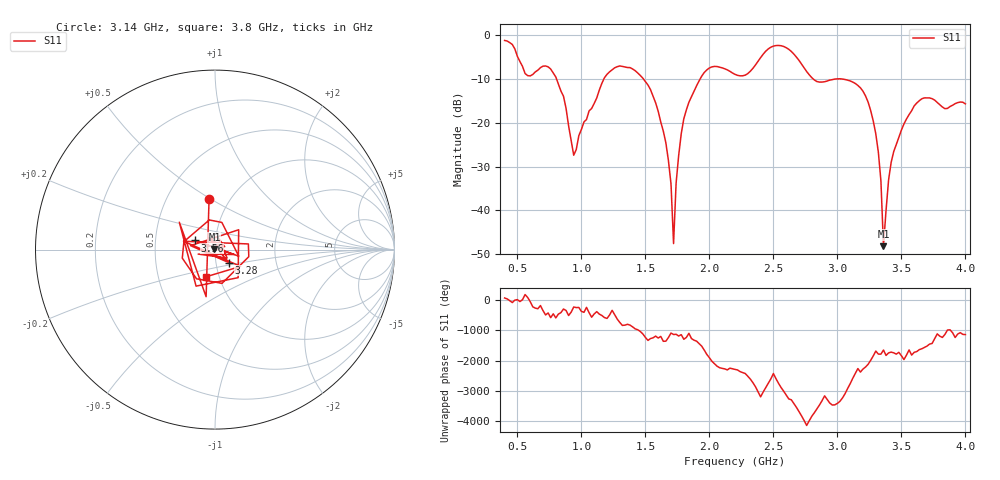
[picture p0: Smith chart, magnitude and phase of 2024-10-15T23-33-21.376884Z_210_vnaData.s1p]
! Created with skrf (http://scikit-rf.org).
# Hz S RI R 50.0
!freq ReS11 ImS11
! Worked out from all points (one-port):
!   181 points, 400 MHz to 4 GHz, reference 50 ohm
!   lowest |S11| = -48.2 dB at 3.36 GHz (marker M1), VSWR 1.01, Z = 49.7 + j0.181 ohm
!   |S11| at or under -10 dB: 805.6 MHz to 1.175 GHz (369.9 MHz wide, 37.3 % of centre); 1.485 GHz to 1.927 GHz (442.6 MHz wide, 25.9 % of centre); 3.037 GHz to end of sweep (the widest 3 of 4)
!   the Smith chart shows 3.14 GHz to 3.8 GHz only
!   S11 on the Smith chart (normalised r, x): 3.14 GHz: 0.80, +0.49; 3.28 GHz: 1.15, -0.17; 3.56 GHz: 0.79, +0.08; 3.8 GHz: 0.86, -0.27
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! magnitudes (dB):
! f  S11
! 400 MHz  -1.2
! 580 MHz  -9.2
! 760 MHz  -7.7
! 860 MHz  -13.9
! 940 MHz  -27.4
! 1.18 GHz  -9.7
! 1.3 GHz  -7.0
! 1.58 GHz  -15.4
! 1.68 GHz  -28.7
! 1.7 GHz  -33.9
! 1.72 GHz  -47.6
! 1.74 GHz  -33.7
! 1.76 GHz  -27.5
! 1.82 GHz  -17.1
! 1.94 GHz  -9.3
! 2.2 GHz  -8.9
! 2.5 GHz  -2.5
! 2.66 GHz  -4.3
! 2.84 GHz  -10.6
! 3.1 GHz  -10.4
! 3.14 GHz  -11.0
! 3.28 GHz  -19.6
! 3.34 GHz  -33.2
! 3.36 GHz  -48.2
! 3.42 GHz  -29.0
! 3.56 GHz  -18.1
! 3.8 GHz  -15.9
! 4 GHz  -15.7
